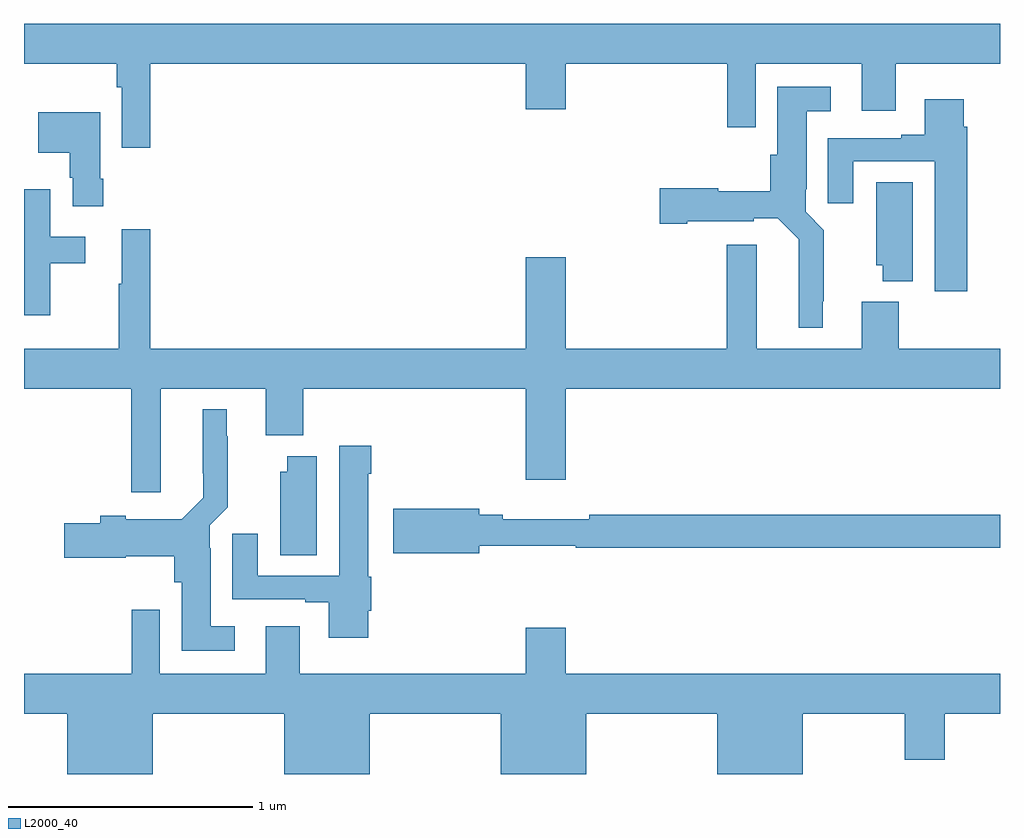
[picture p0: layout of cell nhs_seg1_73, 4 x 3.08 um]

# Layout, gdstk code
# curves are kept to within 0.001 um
import gdstk
lib = gdstk.Library(unit=1e-6, precision=1e-09)
def P(c, l, *ps):  # polygons
    for p in ps: c.add(gdstk.Polygon(p, *l))
L2000_40 = (2000, 40)

nhs_seg1_73 = lib.new_cell('nhs_seg1_73')
P(nhs_seg1_73, L2000_40, [(115.517,505.112),(117.056,505.112),(117.056,504.924),(117.22,504.924),(117.22,505.112),(117.883,505.112),(117.883,504.852),(117.999,504.852),(117.999,505.112),(118.433,505.112),(118.433,504.918),(118.573,504.918),(118.573,505.112),(119,505.112),(119,505.276),(115,505.276),(115,505.112),(115.381,505.112),(115.381,505.016),(115.401,505.016),(115.401,504.768),(115.517,504.768)],
  [(118.273,504.139),(118.277,504.139),(118.277,504.43),(118.203,504.504),(118.203,504.598),(118.207,504.598),(118.207,504.917),(118.306,504.917),(118.306,505.018),(118.088,505.018),(118.088,504.738),(118.058,504.738),(118.058,504.589),(117.846,504.589),(117.846,504.602),(117.606,504.602),(117.606,504.455),(117.718,504.455),(117.718,504.467),(117.99,504.467),(117.99,504.479),(118.089,504.479),(118.176,504.392),(118.175,504.029),(118.273,504.029)],
  [(118.865,504.854),(118.852,504.854),(118.852,504.967),(118.691,504.967),(118.691,504.82),(118.595,504.82),(118.595,504.807),(118.295,504.807),(118.295,504.54),(118.399,504.54),(118.399,504.711),(118.733,504.711),(118.733,504.18),(118.865,504.18)],
  [(115.325,504.64),(115.312,504.64),(115.312,504.913),(115.059,504.913),(115.059,504.746),(115.187,504.746),(115.187,504.645),(115.199,504.645),(115.199,504.528),(115.325,504.528)],
  [(118.642,504.626),(118.493,504.626),(118.493,504.285),(118.52,504.285),(118.52,504.221),(118.642,504.221)],
  [(115.108,504.294),(115.252,504.294),(115.252,504.402),(115.108,504.402),(115.108,504.598),(115,504.598),(115,504.081),(115.108,504.081)],
  [(115.561,503.78),(115.991,503.78),(115.991,503.588),(116.144,503.588),(116.144,503.78),(117.056,503.78),(117.056,503.406),(117.22,503.406),(117.22,503.78),(119,503.78),(119,503.944),(118.586,503.944),(118.586,504.136),(118.433,504.136),(118.433,503.944),(118.003,503.944),(118.003,504.37),(117.881,504.37),(117.881,503.944),(117.22,503.944),(117.22,504.319),(117.056,504.319),(117.056,503.944),(115.517,503.944),(115.517,504.433),(115.4,504.433),(115.4,504.209),(115.389,504.209),(115.389,503.944),(115,503.944),(115,503.78),(115.439,503.78),(115.439,503.355),(115.561,503.355)],
  [(115.864,502.807),(115.765,502.807),(115.765,503.126),(115.761,503.126),(115.761,503.22),(115.835,503.294),(115.835,503.585),(115.831,503.585),(115.831,503.695),(115.733,503.695),(115.734,503.332),(115.647,503.245),(115.417,503.245),(115.417,503.258),(115.313,503.258),(115.313,503.228),(115.164,503.228),(115.164,503.086),(115.417,503.086),(115.417,503.093),(115.616,503.093),(115.616,502.986),(115.646,502.986),(115.646,502.706),(115.864,502.706)],
  [(116.41,502.87),(116.423,502.87),(116.423,503.01),(116.41,503.01),(116.41,503.432),(116.423,503.432),(116.423,503.545),(116.291,503.545),(116.291,503.013),(115.957,503.013),(115.957,503.185),(115.853,503.185),(115.853,502.917),(116.153,502.917),(116.153,502.905),(116.249,502.905),(116.249,502.758),(116.41,502.758)],
  [(116.2,503.503),(116.078,503.503),(116.078,503.439),(116.051,503.439),(116.051,503.098),(116.2,503.098)],
  [(116.866,503.136),(117.262,503.136),(117.262,503.128),(119,503.128),(119,503.264),(117.316,503.264),(117.316,503.245),(116.962,503.245),(116.962,503.264),(116.866,503.264),(116.866,503.288),(116.514,503.288),(116.514,503.105),(116.866,503.105)],
  [(115.528,502.448),(116.066,502.448),(116.066,502.199),(116.416,502.199),(116.416,502.448),(116.954,502.448),(116.954,502.199),(117.304,502.199),(117.304,502.448),(117.842,502.448),(117.842,502.199),(118.192,502.199),(118.192,502.448),(118.61,502.448),(118.61,502.26),(118.774,502.26),(118.774,502.448),(119,502.448),(119,502.612),(117.22,502.612),(117.22,502.801),(117.056,502.801),(117.056,502.612),(116.131,502.612),(116.131,502.807),(115.991,502.807),(115.991,502.612),(115.557,502.612),(115.557,502.873),(115.441,502.873),(115.441,502.612),(115,502.612),(115,502.448),(115.178,502.448),(115.178,502.199),(115.528,502.199)])

lib.write_gds('nhs_seg1_73.gds')
